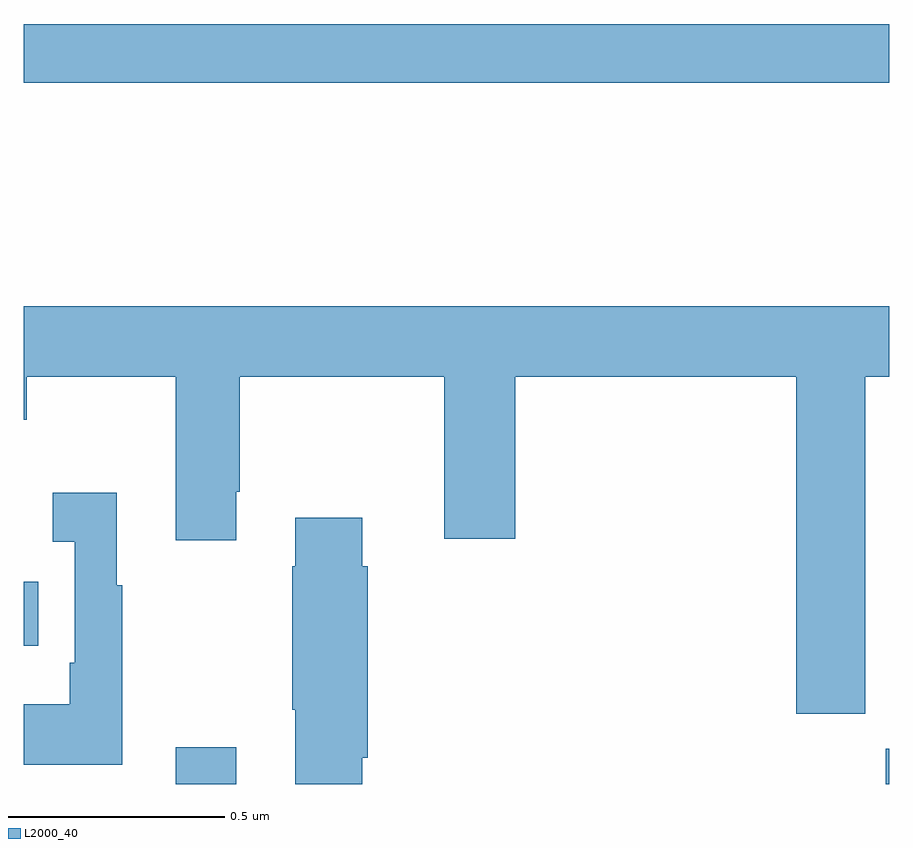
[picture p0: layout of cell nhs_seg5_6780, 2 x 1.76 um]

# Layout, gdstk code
import gdstk
lib = gdstk.Library(unit=1e-6, precision=1e-09)
def R(c, l, rs):  # rectangles x0, y0, x1, y1
    for r in rs: c.add(gdstk.rectangle(r[:2], r[2:], *l))
def P(c, l, *ps):  # polygons
    for p in ps: c.add(gdstk.Polygon(p, *l))
L2000_40 = (2000, 40)

nhs_seg5_6780 = lib.new_cell('nhs_seg5_6780')
R(nhs_seg5_6780, L2000_40, [(200.351,875.799,200.491,875.884), (201.992,875.799,202,875.881), (200,876.119,200.033,876.267), (200,877.42,202,877.556)])
P(nhs_seg5_6780, L2000_40, [(200,876.641),(200.007,876.641),(200.007,876.74),(200.351,876.74),(200.351,876.363),(200.491,876.363),(200.491,876.475),(200.499,876.475),(200.499,876.74),(200.972,876.74),(200.972,876.366),(201.136,876.366),(201.136,876.74),(201.785,876.74),(201.785,875.961),(201.945,875.961),(201.945,876.74),(202,876.74),(202,876.904),(200,876.904)],
  [(200.227,876.259),(200.215,876.259),(200.215,876.472),(200.067,876.472),(200.067,876.359),(200.118,876.359),(200.118,876.079),(200.106,876.079),(200.106,875.983),(200,875.983),(200,875.843),(200.227,875.843)],
  [(200.782,875.86),(200.795,875.86),(200.795,876.302),(200.782,876.302),(200.782,876.415),(200.627,876.415),(200.627,876.302),(200.62,876.302),(200.62,875.971),(200.627,875.971),(200.627,875.799),(200.782,875.799)])

lib.write_gds('nhs_seg5_6780.gds')
